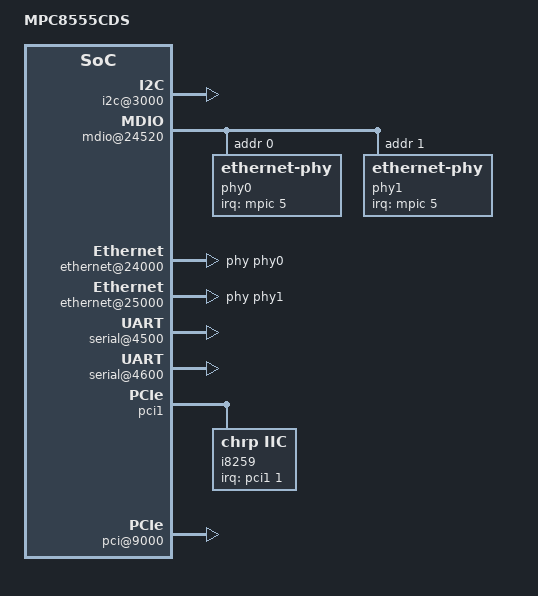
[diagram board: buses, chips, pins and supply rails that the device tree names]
/*
 * MPC8555 CDS Device Tree Source
 *
 * Copyright 2006 Freescale Semiconductor Inc.
 *
 * This program is free software; you can redistribute  it and/or modify it
 * under  the terms of  the GNU General  Public License as published by the
 * Free Software Foundation;  either version 2 of the  License, or (at your
 * option) any later version.
 */


/ {
	model = "MPC8555CDS";
	compatible = "MPC8555CDS", "MPC85xxCDS";
	#address-cells = <1>;
	#size-cells = <1>;

	cpus {
		#address-cells = <1>;
		#size-cells = <0>;

		PowerPC,8555@0 {
			device_type = "cpu";
			reg = <0>;
			d-cache-line-size = <20>;	// 32 bytes
			i-cache-line-size = <20>;	// 32 bytes
			d-cache-size = <8000>;		// L1, 32K
			i-cache-size = <8000>;		// L1, 32K
			timebase-frequency = <0>;	//  33 MHz, from uboot
			bus-frequency = <0>;	// 166 MHz
			clock-frequency = <0>;	// 825 MHz, from uboot
			32-bit;
		};
	};

	memory {
		device_type = "memory";
		reg = <00000000 08000000>;	// 128M at 0x0
	};

	soc8555@e0000000 {
		#address-cells = <1>;
		#size-cells = <1>;
		#interrupt-cells = <2>;
		device_type = "soc";
		ranges = <0 e0000000 00100000>;
		reg = <e0000000 00100000>;	// CCSRBAR 1M
		bus-frequency = <0>;

		memory-controller@2000 {
			compatible = "fsl,8555-memory-controller";
			reg = <2000 1000>;
			interrupt-parent = <&mpic>;
			interrupts = <12 2>;
		};

		l2-cache-controller@20000 {
			compatible = "fsl,8555-l2-cache-controller";
			reg = <20000 1000>;
			cache-line-size = <20>;	// 32 bytes
			cache-size = <40000>;	// L2, 256K
			interrupt-parent = <&mpic>;
			interrupts = <10 2>;
		};

		i2c@3000 {
			device_type = "i2c";
			compatible = "fsl-i2c";
			reg = <3000 100>;
			interrupts = <2b 2>;
			interrupt-parent = <&mpic>;
			dfsrr;
		};

		mdio@24520 {
			#address-cells = <1>;
			#size-cells = <0>;
			device_type = "mdio";
			compatible = "gianfar";
			reg = <24520 20>;
			phy0: ethernet-phy@0 {
				interrupt-parent = <&mpic>;
				interrupts = <5 1>;
				reg = <0>;
				device_type = "ethernet-phy";
			};
			phy1: ethernet-phy@1 {
				interrupt-parent = <&mpic>;
				interrupts = <5 1>;
				reg = <1>;
				device_type = "ethernet-phy";
			};
		};

		ethernet@24000 {
			#address-cells = <1>;
			#size-cells = <0>;
			device_type = "network";
			model = "TSEC";
			compatible = "gianfar";
			reg = <24000 1000>;
			local-mac-address = [ 00 00 00 00 00 00 ];
			interrupts = <1d 2 1e 2 22 2>;
			interrupt-parent = <&mpic>;
			phy-handle = <&phy0>;
		};

		ethernet@25000 {
			#address-cells = <1>;
			#size-cells = <0>;
			device_type = "network";
			model = "TSEC";
			compatible = "gianfar";
			reg = <25000 1000>;
			local-mac-address = [ 00 00 00 00 00 00 ];
			interrupts = <23 2 24 2 28 2>;
			interrupt-parent = <&mpic>;
			phy-handle = <&phy1>;
		};

		serial@4500 {
			device_type = "serial";
			compatible = "ns16550";
			reg = <4500 100>; 	// reg base, size
			clock-frequency = <0>; 	// should we fill in in uboot?
			interrupts = <2a 2>;
			interrupt-parent = <&mpic>;
		};

		serial@4600 {
			device_type = "serial";
			compatible = "ns16550";
			reg = <4600 100>;	// reg base, size
			clock-frequency = <0>; 	// should we fill in in uboot?
			interrupts = <2a 2>;
			interrupt-parent = <&mpic>;
		};

		pci1: pci@8000 {
			interrupt-map-mask = <1f800 0 0 7>;
			interrupt-map = <

				/* IDSEL 0x10 */
				08000 0 0 1 &mpic 0 1
				08000 0 0 2 &mpic 1 1
				08000 0 0 3 &mpic 2 1
				08000 0 0 4 &mpic 3 1

				/* IDSEL 0x11 */
				08800 0 0 1 &mpic 0 1
				08800 0 0 2 &mpic 1 1
				08800 0 0 3 &mpic 2 1
				08800 0 0 4 &mpic 3 1

				/* IDSEL 0x12 (Slot 1) */
				09000 0 0 1 &mpic 0 1
				09000 0 0 2 &mpic 1 1
				09000 0 0 3 &mpic 2 1
				09000 0 0 4 &mpic 3 1

				/* IDSEL 0x13 (Slot 2) */
				09800 0 0 1 &mpic 1 1
				09800 0 0 2 &mpic 2 1
				09800 0 0 3 &mpic 3 1
				09800 0 0 4 &mpic 0 1

				/* IDSEL 0x14 (Slot 3) */
				0a000 0 0 1 &mpic 2 1
				0a000 0 0 2 &mpic 3 1
				0a000 0 0 3 &mpic 0 1
				0a000 0 0 4 &mpic 1 1

				/* IDSEL 0x15 (Slot 4) */
				0a800 0 0 1 &mpic 3 1
				0a800 0 0 2 &mpic 0 1
				0a800 0 0 3 &mpic 1 1
				0a800 0 0 4 &mpic 2 1

				/* Bus 1 (Tundra Bridge) */
				/* IDSEL 0x12 (ISA bridge) */
				19000 0 0 1 &mpic 0 1
				19000 0 0 2 &mpic 1 1
				19000 0 0 3 &mpic 2 1
				19000 0 0 4 &mpic 3 1>;
			interrupt-parent = <&mpic>;
			interrupts = <18 2>;
			bus-range = <0 0>;
			ranges = <02000000 0 80000000 80000000 0 20000000
				  01000000 0 00000000 e2000000 0 00100000>;
			clock-frequency = <3f940aa>;
			#interrupt-cells = <1>;
			#size-cells = <2>;
			#address-cells = <3>;
			reg = <8000 1000>;
			compatible = "fsl,mpc8540-pci";
			device_type = "pci";

			i8259@19000 {
				clock-frequency = <0>;
				interrupt-controller;
				device_type = "interrupt-controller";
				reg = <19000 0 0 0 1>;
				#address-cells = <0>;
				#interrupt-cells = <2>;
				built-in;
				compatible = "chrp,iic";
				big-endian;
				interrupts = <1>;
				interrupt-parent = <&pci1>;
			};
		};

		pci@9000 {
			interrupt-map-mask = <f800 0 0 7>;
			interrupt-map = <

				/* IDSEL 0x15 */
				a800 0 0 1 &mpic b 1
				a800 0 0 2 &mpic b 1
				a800 0 0 3 &mpic b 1
				a800 0 0 4 &mpic b 1>;
			interrupt-parent = <&mpic>;
			interrupts = <19 2>;
			bus-range = <0 0>;
			ranges = <02000000 0 a0000000 a0000000 0 20000000
				  01000000 0 00000000 e3000000 0 00100000>;
			clock-frequency = <3f940aa>;
			#interrupt-cells = <1>;
			#size-cells = <2>;
			#address-cells = <3>;
			reg = <9000 1000>;
			compatible = "fsl,mpc8540-pci";
			device_type = "pci";
		};

		mpic: pic@40000 {
			clock-frequency = <0>;
			interrupt-controller;
			#address-cells = <0>;
			#interrupt-cells = <2>;
			reg = <40000 40000>;
			built-in;
			compatible = "chrp,open-pic";
			device_type = "open-pic";
                        big-endian;
		};
	};
};
